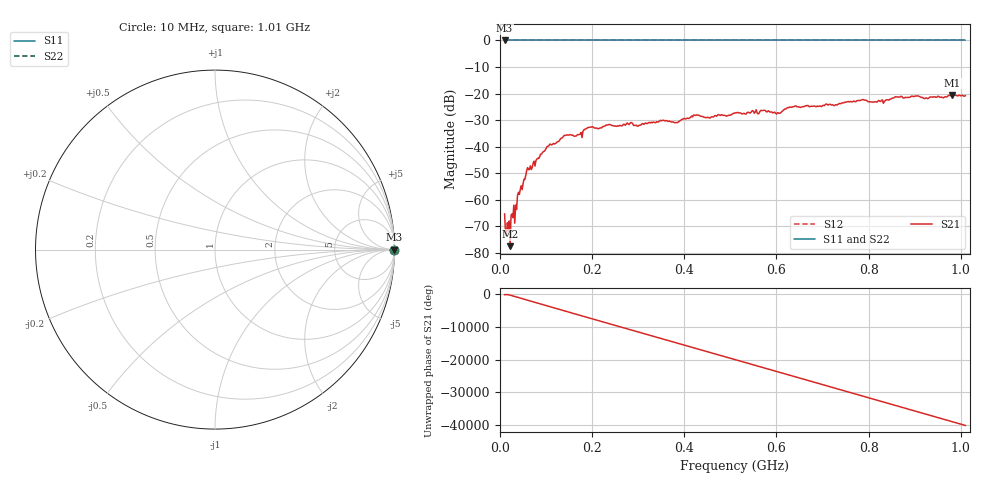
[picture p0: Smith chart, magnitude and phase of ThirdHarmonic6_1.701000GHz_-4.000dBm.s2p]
! 8/16/2025 8:26:30 PM
! C:\ANRITSUVNA\TEMP\TEMP.S2P
! CHANNEL.1
! TR.MEASUREMENT
! RAW.DATA
! RF.CORRECTION.OFF
! AVERAGING.OFF
! IF.BANDWIDTH: 5KHZ
! SWEEPTYPE:  FREQ.SWEEP(Linear)
! Reference Plane Port Info
! PORT:  PORT1  PORT2
! DISTANCE:  0  m  0  m
! TIME:  0  s  0  s
! PHASE.OFFSET:  0  deg.  0  deg.
! LOSS:  0  dB  0  dB
! REF.LOSS:  0  dB  0  dB
! REF.FREQ:  0  Hz  0  Hz
! Power Info
! POWER:  -20  dBm  -20  dBm
! EFF.POWER:  -20  dBm  -20  dBm
! SOURCE.ATTEN:  0  dB  0  dB
! TEST.ATTEN:  0  dB  0  dB
# GHZ S RI R 50.0
! FREQ.GHZ  S11RE  S11IM  S21RE  S21IM  S12RE  S12IM  S22RE  S22IM
!; PortSelection: Port_12
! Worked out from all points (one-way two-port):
!   501 points, 10 MHz to 1.01 GHz, reference 50 ohm
!   highest |S21| = -20.50 dB at 982 MHz (marker M1); lowest = -77.5 dB at 22 MHz (marker M2)
!   lowest |S11| = 0.0 dB at 10 MHz (marker M3)
!   |S11| at or under -10 dB: nowhere
!   |S22| runs from 0.0 to 0.0 dB; largest |S21 - S12| = 1.1
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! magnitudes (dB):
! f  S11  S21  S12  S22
! 10 MHz  0.0  -65.4  0.0  0.0
! 18 MHz  0.0  -71.7  0.0  0.0
! 22 MHz  0.0  -77.5  0.0  0.0
! 32 MHz  0.0  -68.9  0.0  0.0
! 42 MHz  0.0  -58.0  0.0  0.0
! 62 MHz  0.0  -48.7  0.0  0.0
! 106 MHz  0.0  -39.7  0.0  0.0
! 142 MHz  0.0  -35.8  0.0  0.0
! 178 MHz  0.0  -36.6  0.0  0.0
! 196 MHz  0.0  -32.7  0.0  0.0
! 344 MHz  0.0  -30.7  0.0  0.0
! 382 MHz  0.0  -30.9  0.0  0.0
! 424 MHz  0.0  -28.3  0.0  0.0
! 452 MHz  0.0  -29.0  0.0  0.0
! 510 MHz  0.0  -27.3  0.0  0.0
! 570 MHz  0.0  -26.4  0.0  0.0
! 604 MHz  0.0  -27.3  0.0  0.0
! 628 MHz  0.0  -25.2  0.0  0.0
! 678 MHz  0.0  -24.8  0.0  0.0
! 844 MHz  0.0  -22.5  0.0  0.0
! 982 MHz  0.0  -20.5  0.0  0.0
! 1.01 GHz  0.0  -20.8  0.0  0.0
